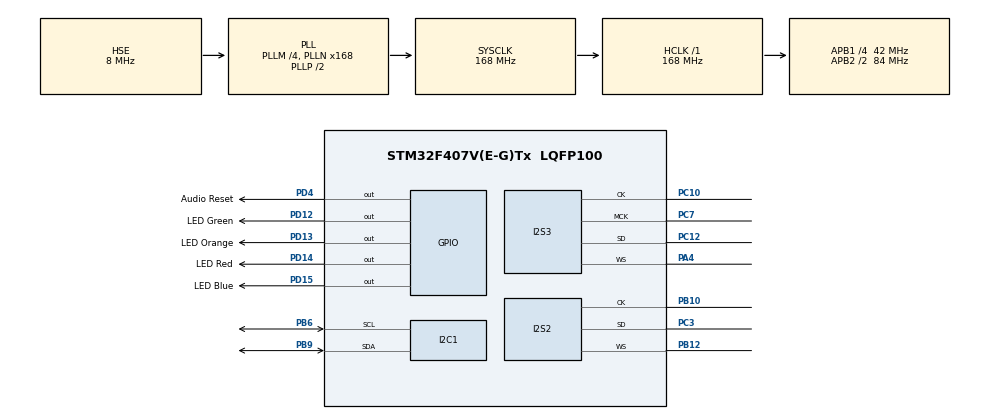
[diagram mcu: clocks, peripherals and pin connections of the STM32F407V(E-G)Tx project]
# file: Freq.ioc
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Dma.Request0=SPI3_TX
Dma.SPI3_TX.0.Direction=DMA_MEMORY_TO_PERIPH
Dma.SPI3_TX.0.FIFOMode=DMA_FIFOMODE_ENABLE
Dma.SPI3_TX.0.FIFOThreshold=DMA_FIFO_THRESHOLD_FULL
Dma.SPI3_TX.0.Instance=DMA1_Stream5
Dma.SPI3_TX.0.MemBurst=DMA_MBURST_SINGLE
Dma.SPI3_TX.0.MemDataAlignment=DMA_MDATAALIGN_HALFWORD
Dma.SPI3_TX.0.MemInc=DMA_MINC_ENABLE
Dma.SPI3_TX.0.Mode=DMA_CIRCULAR
Dma.SPI3_TX.0.PeriphBurst=DMA_PBURST_SINGLE
Dma.SPI3_TX.0.PeriphDataAlignment=DMA_PDATAALIGN_HALFWORD
Dma.SPI3_TX.0.PeriphInc=DMA_PINC_DISABLE
Dma.SPI3_TX.0.Priority=DMA_PRIORITY_LOW
I2S2.AudioFreq=I2S_AUDIOFREQ_16K
I2S2.ErrorAudioFreq=-0.35 %
I2S2.FullDuplexMode=I2S_FULLDUPLEXMODE_DISABLE
I2S2.Instance=SPI$Index
I2S2.Mode=I2S_MODE_MASTER_RX
I2S2.RealAudioFreq=15.943 KHz
I2S2.VirtualMode=I2S_MODE_MASTER
I2S3.AudioFreq=I2S_AUDIOFREQ_16K
I2S3.ErrorAudioFreq=1.72 %
I2S3.FullDuplexMode=I2S_FULLDUPLEXMODE_DISABLE
I2S3.Instance=SPI$Index
I2S3.RealAudioFreq=16.276 KHz
I2S3.VirtualMode=I2S_MODE_MASTER
Mcu.Family=STM32F4
Mcu.Name=STM32F407V(E-G)Tx
Mcu.Package=LQFP100
NVIC.DMA1_Stream5_IRQn=true\:0\:0\:false\:false\:true\:false
NVIC.PriorityGroup=NVIC_PRIORITYGROUP_0
PA4.Mode=Half_Duplex_Master
PA4.Signal=I2S3_WS
PB10.Mode=Half_Duplex_Master
PB10.Signal=I2S2_CK
PB12.Mode=Half_Duplex_Master
PB12.Signal=I2S2_WS
PB6.Mode=I2C
PB6.Signal=I2C1_SCL
PB9.Mode=I2C
PB9.Signal=I2C1_SDA
PC10.Mode=Half_Duplex_Master
PC10.Signal=I2S3_CK
PC12.Mode=Half_Duplex_Master
PC12.Signal=I2S3_SD
PC3.Mode=Half_Duplex_Master
PC3.Signal=I2S2_SD
PC7.Mode=Master_Clock_Activated
PC7.Signal=I2S3_MCK
PD12.GPIO_Label=LED Green
PD12.Signal=GPIO_Output
PD13.GPIO_Label=LED Orange
PD13.Signal=GPIO_Output
PD14.GPIO_Label=LED Red
PD14.Signal=GPIO_Output
PD15.GPIO_Label=LED Blue
PD15.Signal=GPIO_Output
PD4.GPIO_Label=Audio Reset
PD4.Signal=GPIO_Output
PH0-OSC_IN.Mode=HSE-External-Oscillator
PH0-OSC_IN.Signal=RCC_OSC_IN
PH1-OSC_OUT.Mode=HSE-External-Oscillator
PH1-OSC_OUT.Signal=RCC_OSC_OUT
ProjectManager.HeapSize=0x200
ProjectManager.StackSize=0x400
ProjectManager.TargetToolchain=SW4STM32
RCC.48MHZClocksFreq_Value=48000000
RCC.AHBFreq_Value=168000000
RCC.APB1CLKDivider=RCC_HCLK_DIV4
RCC.APB1Freq_Value=42000000
RCC.APB1TimFreq_Value=84000000
RCC.APB2CLKDivider=RCC_HCLK_DIV2
RCC.APB2Freq_Value=84000000
RCC.APB2TimFreq_Value=168000000
RCC.CortexFreq_Value=168000000
RCC.HCLKFreq_Value=168000000
RCC.HSE_VALUE=8000000
RCC.HSI_VALUE=16000000
RCC.LSE_VALUE=32768
RCC.PLLI2SN=50
RCC.PLLM=4
RCC.PLLN=168
RCC.PLLQ=7
RCC.PLLSourceVirtual=RCC_PLLSOURCE_HSE
RCC.SYSCLKFreq_VALUE=168000000
RCC.SYSCLKSource=RCC_SYSCLKSOURCE_PLLCLK
RCC.VCOOutputFreq_Value=336000000
board=STM32F4DISCOVERY

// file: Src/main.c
/* USER CODE BEGIN Header */
/**
  ******************************************************************************
  * @file           : main.c
  * @brief          : Main program body
  ******************************************************************************
  ** This notice applies to any and all portions of this file
  * that are not between comment pairs USER CODE BEGIN and
  * USER CODE END. Other portions of this file, whether
  * inserted by the user or by software development tools
  * are owned by their respective copyright owners.
  *
  * COPYRIGHT(c) 2019 STMicroelectronics
  *
  * Redistribution and use in source and binary forms, with or without modification,
  * are permitted provided that the following conditions are met:
  *   1. Redistributions of source code must retain the above copyright notice,
  *      this list of conditions and the following disclaimer.
  *   2. Redistributions in binary form must reproduce the above copyright notice,
  *      this list of conditions and the following disclaimer in the documentation
  *      and/or other materials provided with the distribution.
  *   3. Neither the name of STMicroelectronics nor the names of its contributors
  *      may be used to endorse or promote products derived from this software
  *      without specific prior written permission.
  *
  * THIS SOFTWARE IS PROVIDED BY THE COPYRIGHT HOLDERS AND CONTRIBUTORS "AS IS"
  * AND ANY EXPRESS OR IMPLIED WARRANTIES, INCLUDING, BUT NOT LIMITED TO, THE
  * IMPLIED WARRANTIES OF MERCHANTABILITY AND FITNESS FOR A PARTICULAR PURPOSE ARE
  * DISCLAIMED. IN NO EVENT SHALL THE COPYRIGHT HOLDER OR CONTRIBUTORS BE LIABLE
  * FOR ANY DIRECT, INDIRECT, INCIDENTAL, SPECIAL, EXEMPLARY, OR CONSEQUENTIAL
  * DAMAGES (INCLUDING, BUT NOT LIMITED TO, PROCUREMENT OF SUBSTITUTE GOODS OR
  * SERVICES; LOSS OF USE, DATA, OR PROFITS; OR BUSINESS INTERRUPTION) HOWEVER
  * CAUSED AND ON ANY THEORY OF LIABILITY, WHETHER IN CONTRACT, STRICT LIABILITY,
  * OR TORT (INCLUDING NEGLIGENCE OR OTHERWISE) ARISING IN ANY WAY OUT OF THE USE
  * OF THIS SOFTWARE, EVEN IF ADVISED OF THE POSSIBILITY OF SUCH DAMAGE.
  *
  ******************************************************************************
  */
/* USER CODE END Header */

#include "main.h"

/* USER CODE BEGIN Includes */
#include "MY_CS43L22.h"
#include "pdm_fir.h"
#include "arm_math.h"
/* USER CODE END Includes */

I2C_HandleTypeDef hi2c1;

I2S_HandleTypeDef hi2s2;
I2S_HandleTypeDef hi2s3;
DMA_HandleTypeDef hdma_spi3_tx;

/* USER CODE BEGIN PV */

#define PDM_BUFFER_SIZE 320
#define PCM_BUFFER_SIZE 320
#define SAMPLES                    128 // fft bin size= 32kHz/128= 250
#define FFT_SIZE                SAMPLES / 2

//int16_t PCM_buffer[PCM_BUFFER_SIZE];
//int16_t PCM_buffer_Filt[PCM_BUFFER_SIZE];

/* USER CODE END PV */

void SystemClock_Config(void);
static void MX_GPIO_Init(void);
static void MX_DMA_Init(void);
static void MX_I2C1_Init(void);
static void MX_I2S3_Init(void);
static void MX_I2S2_Init(void);

/* USER CODE BEGIN 0 */

struct pdm_fir_filter Filter;

/* USER CODE END 0 */

int main(void)
{
  /* USER CODE BEGIN 1 */
	int16_t PDM_buffer[PDM_BUFFER_SIZE];
	float sum[PDM_BUFFER_SIZE];
	static uint16_t peakIndex[3];
	uint16_t ind=0;
	float frequency;
	arm_cfft_radix4_instance_f32 S;
	float32_t Input[SAMPLES];
	float32_t Output[FFT_SIZE];
	float32_t maxValue;
	uint32_t maxIndex;

  /* USER CODE END 1 */

  /* MCU Configuration--------------------------------------------------------*/

  /* Reset of all peripherals, Initializes the Flash interface and the Systick. */
  HAL_Init();

  /* Configure the system clock */
  SystemClock_Config();

  /* Initialize all configured peripherals */
  MX_GPIO_Init();
  MX_DMA_Init();
  MX_I2C1_Init();
  MX_I2S3_Init();
  MX_I2S2_Init();
  /* USER CODE BEGIN 2 */
  CS43_Init(hi2c1, MODE_I2S);
  CS43_SetVolume(50); //0 - 100,, 40
  CS43_Enable_RightLeft(CS43_RIGHT);
  CS43_Start();

  /* Enable CRC module */
 // RCC->AHB1ENR |= RCC_AHB1ENR_CRCEN;
  pdm_fir_flt_init(&Filter);
  //HAL_I2S_Transmit_DMA(&hi2s3, (uint16_t *)PCM_buffer_Filt, PCM_BUFFER_SIZE);
  //HAL_I2S_Receive_DMA(&hi2s2, (uint16_t *)PDM_buffer, PCM_BUFFER_SIZE);

  /* USER CODE END 2 */

  /* Infinite loop */
  while (1)
  {

    /* USER CODE BEGIN 3 */

	  HAL_I2S_Receive(&hi2s2, PDM_buffer, PDM_BUFFER_SIZE, 1000);
	  for (int j=0; j<PDM_BUFFER_SIZE; j++)
	  {
	  pdm_fir_flt_put(&Filter, PDM_buffer[j]);//PDM_buffer[j]
	  PDM_buffer[j]=pdm_fir_flt_get(&Filter, 16);
	  }
	  //lowPassFrequency(&PCM_buffer, &PCM_buffer_Filt, 64000);
	 HAL_I2S_Transmit(&hi2s3, (uint16_t *)PDM_buffer, PCM_BUFFER_SIZE,1000);
	 //HAL_Delay(1000);

	  ind=0;
	  //HAL_I2S_Transmit(&hi2s3, (uint16_t *)dataI2S, sample_N*2, 1000);
	  for(int j=0; j < (PDM_BUFFER_SIZE) ; j++)
	  {
	    sum[j] = 0;
	    for(int k=0; k < ((PDM_BUFFER_SIZE)-j); k++){
	    	sum[j] += (PDM_buffer[k])*(PDM_buffer[k+j]);
	    }
	    if(j>2)
	    {
	    	if((sum[j]-sum[j-1]<0)&&(sum[j-1]-sum[j-2]>0))
	    	{
	    	peakIndex[ind]=j-1;
	    	if((++ind)>2) break;//ind=0 ;
	    	}
	    }
	  }
	  frequency=(32000.0/((peakIndex[0]+(peakIndex[1]-peakIndex[0])+(peakIndex[2]-peakIndex[1]))/3.0));
	  //frequency=(32000.0/(peakIndex[0]));

	  //fft
	  for (int i=0; i< (SAMPLES);i++)
	  {
		  Input[i]=(float32_t)PDM_buffer[i]; // create an array for fft with fft size
	  }
	  arm_cfft_radix4_init_f32(&S, FFT_SIZE, 0, 1);// initialise fft
	  arm_cfft_radix4_f32(&S, Input);	//
	  arm_cmplx_mag_f32(Input, Output, FFT_SIZE);// output array contains fft magnitudes for each bin.
	  arm_max_f32(Output, FFT_SIZE, &maxValue, &maxIndex);

  }
  /* USER CODE END 3 */
}

void SystemClock_Config(void)
{
  RCC_OscInitTypeDef RCC_OscInitStruct = {0};
  RCC_ClkInitTypeDef RCC_ClkInitStruct = {0};
  RCC_PeriphCLKInitTypeDef PeriphClkInitStruct = {0};

  /**Configure the main internal regulator output voltage
  */
  __HAL_RCC_PWR_CLK_ENABLE();
  __HAL_PWR_VOLTAGESCALING_CONFIG(PWR_REGULATOR_VOLTAGE_SCALE1);
  /**Initializes the CPU, AHB and APB busses clocks
  */
  RCC_OscInitStruct.OscillatorType = RCC_OSCILLATORTYPE_HSE;
  RCC_OscInitStruct.HSEState = RCC_HSE_ON;
  RCC_OscInitStruct.PLL.PLLState = RCC_PLL_ON;
  RCC_OscInitStruct.PLL.PLLSource = RCC_PLLSOURCE_HSE;
  RCC_OscInitStruct.PLL.PLLM = 4;
  RCC_OscInitStruct.PLL.PLLN = 168;
  RCC_OscInitStruct.PLL.PLLP = RCC_PLLP_DIV2;
  RCC_OscInitStruct.PLL.PLLQ = 7;
  if (HAL_RCC_OscConfig(&RCC_OscInitStruct) != HAL_OK)
  {
    Error_Handler();
  }
  /**Initializes the CPU, AHB and APB busses clocks
  */
  RCC_ClkInitStruct.ClockType = RCC_CLOCKTYPE_HCLK|RCC_CLOCKTYPE_SYSCLK
                              |RCC_CLOCKTYPE_PCLK1|RCC_CLOCKTYPE_PCLK2;
  RCC_ClkInitStruct.SYSCLKSource = RCC_SYSCLKSOURCE_PLLCLK;
  RCC_ClkInitStruct.AHBCLKDivider = RCC_SYSCLK_DIV1;
  RCC_ClkInitStruct.APB1CLKDivider = RCC_HCLK_DIV4;
  RCC_ClkInitStruct.APB2CLKDivider = RCC_HCLK_DIV2;

  if (HAL_RCC_ClockConfig(&RCC_ClkInitStruct, FLASH_LATENCY_5) != HAL_OK)
  {
    Error_Handler();
  }
  PeriphClkInitStruct.PeriphClockSelection = RCC_PERIPHCLK_I2S;
  PeriphClkInitStruct.PLLI2S.PLLI2SN = 50;
  PeriphClkInitStruct.PLLI2S.PLLI2SR = 2;
  if (HAL_RCCEx_PeriphCLKConfig(&PeriphClkInitStruct) != HAL_OK)
  {
    Error_Handler();
  }
}

static void MX_I2C1_Init(void)
{

  hi2c1.Instance = I2C1;
  hi2c1.Init.ClockSpeed = 100000;
  hi2c1.Init.DutyCycle = I2C_DUTYCYCLE_2;
  hi2c1.Init.OwnAddress1 = 0;
  hi2c1.Init.AddressingMode = I2C_ADDRESSINGMODE_7BIT;
  hi2c1.Init.DualAddressMode = I2C_DUALADDRESS_DISABLE;
  hi2c1.Init.OwnAddress2 = 0;
  hi2c1.Init.GeneralCallMode = I2C_GENERALCALL_DISABLE;
  hi2c1.Init.NoStretchMode = I2C_NOSTRETCH_DISABLE;
  if (HAL_I2C_Init(&hi2c1) != HAL_OK)
  {
    Error_Handler();
  }

}

static void MX_I2S2_Init(void)
{

  hi2s2.Instance = SPI2;
  hi2s2.Init.Mode = I2S_MODE_MASTER_RX;
  hi2s2.Init.Standard = I2S_STANDARD_PHILIPS;
  hi2s2.Init.DataFormat = I2S_DATAFORMAT_16B;
  hi2s2.Init.MCLKOutput = I2S_MCLKOUTPUT_DISABLE;
  hi2s2.Init.AudioFreq = I2S_AUDIOFREQ_16K;
  hi2s2.Init.CPOL = I2S_CPOL_LOW;
  hi2s2.Init.ClockSource = I2S_CLOCK_PLL;
  hi2s2.Init.FullDuplexMode = I2S_FULLDUPLEXMODE_DISABLE;
  if (HAL_I2S_Init(&hi2s2) != HAL_OK)
  {
    Error_Handler();
  }

}

static void MX_I2S3_Init(void)
{

  hi2s3.Instance = SPI3;
  hi2s3.Init.Mode = I2S_MODE_MASTER_TX;
  hi2s3.Init.Standard = I2S_STANDARD_PHILIPS;
  hi2s3.Init.DataFormat = I2S_DATAFORMAT_16B;
  hi2s3.Init.MCLKOutput = I2S_MCLKOUTPUT_ENABLE;
  hi2s3.Init.AudioFreq = I2S_AUDIOFREQ_16K;
  hi2s3.Init.CPOL = I2S_CPOL_LOW;
  hi2s3.Init.ClockSource = I2S_CLOCK_PLL;
  hi2s3.Init.FullDuplexMode = I2S_FULLDUPLEXMODE_DISABLE;
  if (HAL_I2S_Init(&hi2s3) != HAL_OK)
  {
    Error_Handler();
  }

}

static void MX_DMA_Init(void)
{
  /* DMA controller clock enable */
  __HAL_RCC_DMA1_CLK_ENABLE();

  /* DMA interrupt init */
  /* DMA1_Stream5_IRQn interrupt configuration */
  HAL_NVIC_SetPriority(DMA1_Stream5_IRQn, 0, 0);
  HAL_NVIC_EnableIRQ(DMA1_Stream5_IRQn);

}

static void MX_GPIO_Init(void)
{
  GPIO_InitTypeDef GPIO_InitStruct = {0};

  /* GPIO Ports Clock Enable */
  __HAL_RCC_GPIOH_CLK_ENABLE();
  __HAL_RCC_GPIOC_CLK_ENABLE();
  __HAL_RCC_GPIOA_CLK_ENABLE();
  __HAL_RCC_GPIOB_CLK_ENABLE();
  __HAL_RCC_GPIOD_CLK_ENABLE();

  /*Configure GPIO pin Output Level */
  HAL_GPIO_WritePin(GPIOD, LED_Green_Pin|LED_Orange_Pin|LED_Red_Pin|LED_Blue_Pin
                          |Audio_Reset_Pin, GPIO_PIN_RESET);

  /*Configure GPIO pins : LED_Green_Pin LED_Orange_Pin LED_Red_Pin LED_Blue_Pin
                           Audio_Reset_Pin */
  GPIO_InitStruct.Pin = LED_Green_Pin|LED_Orange_Pin|LED_Red_Pin|LED_Blue_Pin
                          |Audio_Reset_Pin;
  GPIO_InitStruct.Mode = GPIO_MODE_OUTPUT_PP;
  GPIO_InitStruct.Pull = GPIO_NOPULL;
  GPIO_InitStruct.Speed = GPIO_SPEED_FREQ_LOW;
  HAL_GPIO_Init(GPIOD, &GPIO_InitStruct);

}

void Error_Handler(void)
{
}

/************************ (C) COPYRIGHT STMicroelectronics *****END OF FILE****/
